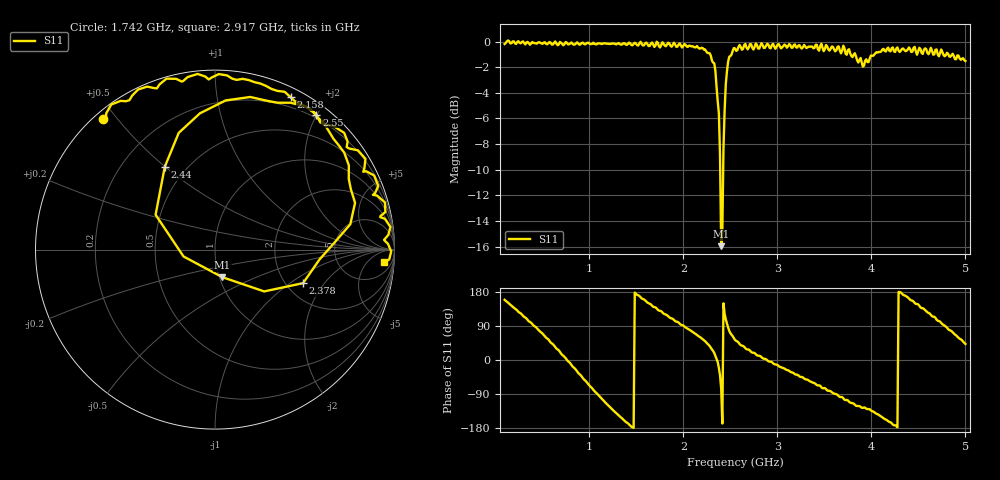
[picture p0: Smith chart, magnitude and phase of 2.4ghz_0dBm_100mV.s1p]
!Agilent Technologies,E8362C,MY49020251,A.08.50.10
!Agilent E8362C: A.08.50.10
!Date: Tuesday, May 17, 2016 04:35:44
!Correction: S11(Full 1 Port(1))
!S1P File: Measurement: S11:
# Hz S  dB  R 50
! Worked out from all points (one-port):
!   401 points, 100 MHz to 5 GHz, reference 50 ohm
!   lowest |S11| = -16.0 dB at 2.403 GHz (marker M1), VSWR 1.38, Z = 51.7 - j16.3 ohm
!   |S11| at or under -10 dB: 2.393 GHz to 2.424 GHz (31.7 MHz wide, 1.32 % of centre)
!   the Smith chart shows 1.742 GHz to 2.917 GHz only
!   S11 on the Smith chart (normalised r, x): 1.742 GHz: 0.03, +0.46; 2.158 GHz: 0.10, +1.61; 2.378 GHz: 2.46, -1.27; 2.44 GHz: 0.38, +0.50; 2.55 GHz: 0.15, +1.99; 2.917 GHz: 13, -17
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1e8  -0.19 158.8
2.715e8  -0.13 123.0
4.185e8  -0.12 89.0
5.5325e8  -0.21 56.7
7.125e8  -0.19 13.4
8.595e8  -0.14 -26.1
1.01875e9  -0.19 -71.5
1.16575e9  -0.14 -110.9
1.325e9  -0.19 -149.2
1.521e9  -0.30 170.8
1.7415e9  -0.38 130.5
1.9375e9  -0.40 100.7
2.158e9  -0.47 63.6
2.31725e9  -1.64 23.9
2.3785e9  -5.59 -20.8
2.403e9  -15.97 -75.1
2.43975e9  -5.36 121.2
2.4765e9  -1.59 85.9
2.55e9  -0.53 53.1
2.697e9  -0.46 27.4
2.9175e9  -0.49 -4.4
3.1625e9  -0.47 -33.1
3.49325e9  -0.75 -74.4
3.775e9  -0.92 -112.5
4.0935e9  -0.81 -147.6
4.3875e9  -0.61 165.2
4.71825e9  -1.15 102.8
5e9  -1.52 42.3
